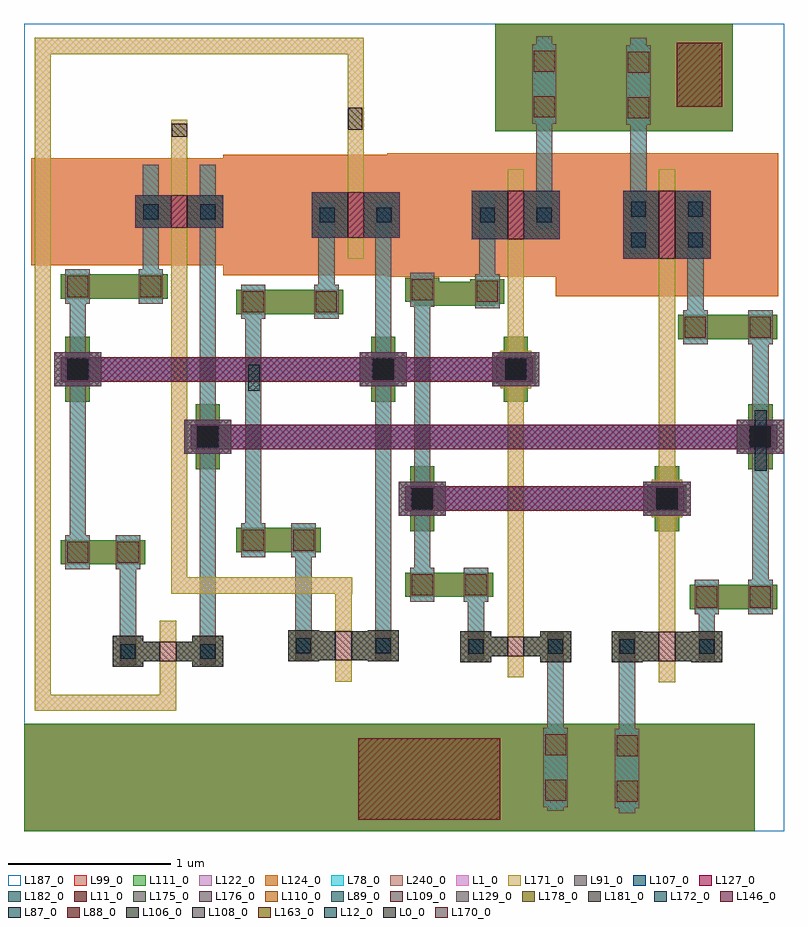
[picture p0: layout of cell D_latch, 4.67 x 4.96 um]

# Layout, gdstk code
import gdstk
lib = gdstk.Library(unit=1e-6, precision=1e-09)
def R(c, l, rs):  # rectangles x0, y0, x1, y1
    for r in rs: c.add(gdstk.rectangle(r[:2], r[2:], *l))
def P(c, l, *ps):  # polygons
    for p in ps: c.add(gdstk.Polygon(p, *l))
L0_0 = (0, 0)
L1_0 = (1, 0)
L11_0 = (11, 0)
L12_0 = (12, 0)
L78_0 = (78, 0)
L87_0 = (87, 0)
L88_0 = (88, 0)
L89_0 = (89, 0)
L91_0 = (91, 0)
L99_0 = (99, 0)
L106_0 = (106, 0)
L107_0 = (107, 0)
L108_0 = (108, 0)
L109_0 = (109, 0)
L110_0 = (110, 0)
L111_0 = (111, 0)
L122_0 = (122, 0)
L124_0 = (124, 0)
L127_0 = (127, 0)
L129_0 = (129, 0)
L146_0 = (146, 0)
L163_0 = (163, 0)
L170_0 = (170, 0)
L171_0 = (171, 0)
L172_0 = (172, 0)
L175_0 = (175, 0)
L176_0 = (176, 0)
L178_0 = (178, 0)
L181_0 = (181, 0)
L182_0 = (182, 0)
L187_0 = (187, 0)
L240_0 = (240, 0)

d_latch = lib.new_cell('D_latch')
R(d_latch, L0_0, [(8.035,6.5,8.13,6.58), (9.12,6.545,9.205,6.68)])
P(d_latch, L1_0, [(9.215,7.11),(9.215,5.75),(9.115,5.75),(9.115,7.01),(7.29,7.01),(7.29,3.07),(7.96,3.07),(7.96,3.525),(8.06,3.525),(8.06,2.97),(7.19,2.97),(7.19,7.11)],
  [(8.13,6.605),(8.13,3.79),(9.145,3.79),(9.145,3.69),(9.14,3.69),(9.14,3.15),(9.04,3.15),(9.04,3.69),(8.03,3.69),(8.03,6.605)],
  [(10.2,6.3),(10.2,5.185),(10.245,5.185),(10.245,4.955),(10.2,4.955),(10.2,3.175),(10.1,3.175),(10.1,4.955),(10.055,4.955),(10.055,5.185),(10.1,5.185),(10.1,6.3)],
  [(11.13,6.3),(11.13,4.39),(11.175,4.39),(11.175,4.16),(11.13,4.16),(11.13,3.145),(11.03,3.145),(11.03,4.16),(10.985,4.16),(10.985,4.39),(11.03,4.39),(11.03,6.3)])
R(d_latch, L11_0, [(9.18,2.3,10.055,2.8), (11.14,6.685,11.42,7.08)])
R(d_latch, L12_0, [(11.62,4.445,11.695,4.82), (8.505,4.94,8.575,5.1)])
P(d_latch, L78_0, [(9.39,6.105),(9.39,5.935),(9.385,5.935),(9.385,5.175),(9.41,5.175),(9.41,4.965),(9.385,4.965),(9.385,3.285),(9.285,3.285),(9.285,4.965),(9.26,4.965),(9.26,5.175),(9.285,5.175),(9.285,6.02),(9.29,6.02),(9.29,6.105)],
  [(9.04,6.105),(9.04,5.935),(9.035,5.935),(9.035,5.59),(9.06,5.59),(9.06,5.38),(8.91,5.38),(8.91,5.59),(8.935,5.59),(8.935,6.055),(8.94,6.055),(8.94,6.105)],
  [(8.61,5.59),(8.61,5.38),(8.585,5.38),(8.585,4.125),(8.61,4.125),(8.61,3.915),(8.46,3.915),(8.46,4.125),(8.485,4.125),(8.485,5.38),(8.46,5.38),(8.46,5.59)],
  [(8.92,4.125),(8.92,3.915),(8.895,3.915),(8.895,3.285),(8.795,3.285),(8.795,3.915),(8.77,3.915),(8.77,4.125)],
  [(8.305,6.33),(8.305,4.76),(8.33,4.76),(8.33,4.55),(8.305,4.55),(8.305,3.25),(8.205,3.25),(8.205,4.55),(8.18,4.55),(8.18,4.76),(8.205,4.76),(8.205,6.33)],
  [(7.955,6.33),(7.955,5.685),(7.98,5.685),(7.98,5.475),(7.83,5.475),(7.83,5.685),(7.855,5.685),(7.855,6.33)],
  [(7.53,5.685),(7.53,5.475),(7.505,5.475),(7.505,5.175),(7.53,5.175),(7.53,4.965),(7.505,4.965),(7.505,4.05),(7.53,4.05),(7.53,3.84),(7.38,3.84),(7.38,4.05),(7.405,4.05),(7.405,4.965),(7.38,4.965),(7.38,5.175),(7.405,5.175),(7.405,5.475),(7.38,5.475),(7.38,5.685)],
  [(7.84,4.05),(7.84,3.84),(7.815,3.84),(7.815,3.25),(7.715,3.25),(7.715,3.84),(7.69,3.84),(7.69,4.05)],
  [(10.025,6.16),(10.025,5.655),(10.05,5.655),(10.05,5.445),(9.9,5.445),(9.9,5.655),(9.925,5.655),(9.925,6.16)],
  [(9.98,3.85),(9.98,3.64),(9.955,3.64),(9.955,3.28),(9.855,3.28),(9.855,3.64),(9.83,3.64),(9.83,3.85)],
  [(9.65,5.665),(9.65,5.455),(9.625,5.455),(9.625,4.38),(9.65,4.38),(9.65,4.17),(9.625,4.17),(9.625,3.85),(9.65,3.85),(9.65,3.64),(9.5,3.64),(9.5,3.85),(9.525,3.85),(9.525,4.17),(9.5,4.17),(9.5,4.38),(9.525,4.38),(9.525,5.455),(9.5,5.455),(9.5,5.665)],
  [(10.445,3.45),(10.445,2.865),(10.47,2.865),(10.47,2.375),(10.445,2.375),(10.445,2.355),(10.345,2.355),(10.345,2.375),(10.32,2.375),(10.32,2.865),(10.345,2.865),(10.345,3.45)],
  [(10.375,7.12),(10.375,7.07),(10.4,7.07),(10.4,6.58),(10.375,6.58),(10.375,5.935),(10.275,5.935),(10.275,6.58),(10.25,6.58),(10.25,7.07),(10.275,7.07),(10.275,7.12)],
  [(11.305,6.14),(11.305,5.435),(11.33,5.435),(11.33,5.225),(11.18,5.225),(11.18,5.435),(11.205,5.435),(11.205,6.14)],
  [(11.4,3.775),(11.4,3.565),(11.375,3.565),(11.375,3.28),(11.275,3.28),(11.275,3.565),(11.25,3.565),(11.25,3.775)],
  [(11.73,5.435),(11.73,5.225),(11.705,5.225),(11.705,4.76),(11.73,4.76),(11.73,4.55),(11.705,4.55),(11.705,3.775),(11.73,3.775),(11.73,3.565),(11.58,3.565),(11.58,3.775),(11.605,3.775),(11.605,4.55),(11.58,4.55),(11.58,4.76),(11.605,4.76),(11.605,5.225),(11.58,5.225),(11.58,5.435)],
  [(10.885,3.45),(10.885,2.86),(10.91,2.86),(10.91,2.37),(10.885,2.37),(10.885,2.34),(10.785,2.34),(10.785,2.37),(10.76,2.37),(10.76,2.86),(10.785,2.86),(10.785,3.45)],
  [(10.955,7.11),(10.955,7.065),(10.98,7.065),(10.98,6.575),(10.955,6.575),(10.955,5.78),(10.855,5.78),(10.855,6.575),(10.83,6.575),(10.83,7.065),(10.855,7.065),(10.855,7.11)],
  [(11.175,4.38),(11.175,4.36),(11.2,4.36),(11.2,4.19),(11.175,4.19),(11.175,4.17),(10.985,4.17),(10.985,4.19),(10.96,4.19),(10.96,4.36),(10.985,4.36),(10.985,4.38)],
  [(10.245,5.175),(10.245,5.155),(10.27,5.155),(10.27,4.985),(10.245,4.985),(10.245,4.965),(10.055,4.965),(10.055,4.985),(10.03,4.985),(10.03,5.155),(10.055,5.155),(10.055,5.175)])
R(d_latch, L87_0, [(9.51,4.21,9.64,4.34), (11.015,4.21,11.145,4.34), (8.19,4.59,8.32,4.72), (11.59,4.59,11.72,4.72), (7.39,5.005,7.52,5.135), (9.27,5.005,9.4,5.135), (10.085,5.005,10.215,5.135)])
R(d_latch, L88_0, [(9.51,4.21,9.64,4.34), (11.015,4.21,11.145,4.34), (8.19,4.59,8.32,4.72), (11.59,4.59,11.72,4.72), (7.39,5.005,7.52,5.135), (9.27,5.005,9.4,5.135), (10.085,5.005,10.215,5.135)])
R(d_latch, L89_0, [(9.43,4.17,9.72,4.38), (10.935,4.17,11.225,4.38), (8.11,4.55,8.4,4.76), (11.51,4.55,11.8,4.76), (7.31,4.965,7.6,5.175), (9.19,4.965,9.48,5.175), (10.005,4.965,10.295,5.175)])
R(d_latch, L91_0, [(9.47,4.2,11.185,4.35), (8.15,4.58,11.76,4.73), (7.35,4.995,10.255,5.145)])
R(d_latch, L99_0, [(7.125,2.23,11.62,2.89), (11.22,3.595,11.76,3.745), (9.47,3.67,10.01,3.82), (7.35,3.87,7.87,4.02), (8.43,3.945,8.95,4.095), (9.5,4.075,9.65,4.475), (11.005,4.075,11.155,4.475), (8.18,4.455,8.33,4.855), (11.58,4.455,11.73,4.855), (7.38,4.87,7.53,5.27), (9.26,4.87,9.41,5.27), (10.075,4.87,10.225,5.27), (11.15,5.255,11.76,5.405), (8.43,5.41,9.09,5.56), (7.35,5.505,8.01,5.655), (10.025,6.535,11.485,7.195)])
P(d_latch, L99_0, [(9.68,5.635),(9.68,5.61),(9.87,5.61),(9.87,5.625),(10.08,5.625),(10.08,5.475),(10.025,5.475),(10.025,5.46),(9.525,5.46),(9.525,5.485),(9.47,5.485),(9.47,5.635)])
R(d_latch, L106_0, [(9.51,4.21,9.64,4.34), (11.015,4.21,11.145,4.34), (8.19,4.59,8.32,4.72), (11.59,4.59,11.72,4.72), (7.39,5.005,7.52,5.135), (9.27,5.005,9.4,5.135), (10.085,5.005,10.215,5.135)])
R(d_latch, L107_0, [(9.47,4.2,11.185,4.35), (8.15,4.58,11.76,4.73), (7.35,4.995,10.255,5.145)])
R(d_latch, L108_0, [(9.51,4.21,9.64,4.34), (11.015,4.21,11.145,4.34), (8.19,4.59,8.32,4.72), (11.59,4.59,11.72,4.72), (7.39,5.005,7.52,5.135), (9.27,5.005,9.4,5.135), (10.085,5.005,10.215,5.135)])
R(d_latch, L109_0, [(9.43,4.17,9.72,4.38), (10.935,4.17,11.225,4.38), (8.11,4.55,8.4,4.76), (11.51,4.55,11.8,4.76), (7.31,4.965,7.6,5.175), (9.19,4.965,9.48,5.175), (10.005,4.965,10.295,5.175)])
R(d_latch, L110_0, [(10.77,2.41,10.9,2.54), (10.33,2.415,10.46,2.545), (10.77,2.69,10.9,2.82), (10.33,2.695,10.46,2.825), (11.26,3.605,11.39,3.735), (11.59,3.605,11.72,3.735), (9.51,3.68,9.64,3.81), (9.84,3.68,9.97,3.81), (7.39,3.88,7.52,4.01), (7.7,3.88,7.83,4.01), (8.47,3.955,8.6,4.085), (8.78,3.955,8.91,4.085), (9.51,4.21,9.64,4.34), (11.015,4.21,11.145,4.34), (8.19,4.59,8.32,4.72), (11.59,4.59,11.72,4.72), (7.39,5.005,7.52,5.135), (9.27,5.005,9.4,5.135), (10.085,5.005,10.215,5.135), (11.19,5.265,11.32,5.395), (11.59,5.265,11.72,5.395), (8.47,5.42,8.6,5.55), (8.92,5.42,9.05,5.55), (9.91,5.485,10.04,5.615), (9.51,5.495,9.64,5.625), (7.39,5.515,7.52,5.645), (7.84,5.515,7.97,5.645), (10.84,6.615,10.97,6.745), (10.26,6.62,10.39,6.75), (10.84,6.895,10.97,7.025), (10.26,6.9,10.39,7.03)])
R(d_latch, L111_0, [(7.125,2.23,11.62,2.89), (11.22,3.595,11.76,3.745), (9.47,3.67,10.01,3.82), (7.35,3.87,7.87,4.02), (8.43,3.945,8.95,4.095), (9.5,4.075,9.65,4.475), (11.005,4.075,11.155,4.475), (8.18,4.455,8.33,4.855), (11.58,4.455,11.73,4.855), (7.38,4.87,7.53,5.27), (9.26,4.87,9.41,5.27), (10.075,4.87,10.225,5.27), (11.15,5.255,11.76,5.405), (8.43,5.41,9.09,5.56), (7.35,5.505,8.01,5.655), (10.025,6.535,11.485,7.195)])
P(d_latch, L111_0, [(9.68,5.635),(9.68,5.61),(9.87,5.61),(9.87,5.625),(10.08,5.625),(10.08,5.475),(10.025,5.475),(10.025,5.46),(9.525,5.46),(9.525,5.485),(9.47,5.485),(9.47,5.635)])
P(d_latch, L122_0, [(11.765,6.4),(11.765,5.52),(10.395,5.52),(10.395,5.64),(9.36,5.64),(9.36,5.65),(8.35,5.65),(8.35,5.71),(7.17,5.71),(7.17,6.37),(8.35,6.37),(8.35,6.39),(9.36,6.39),(9.36,6.4)])
P(d_latch, L124_0, [(11.765,6.4),(11.765,5.52),(10.395,5.52),(10.395,5.64),(9.36,5.64),(9.36,5.65),(8.35,5.65),(8.35,5.71),(7.17,5.71),(7.17,6.37),(8.35,6.37),(8.35,6.39),(9.36,6.39),(9.36,6.4)])
R(d_latch, L127_0, [(9.47,4.2,11.185,4.35), (8.15,4.58,11.76,4.73), (7.35,4.995,10.255,5.145)])
R(d_latch, L129_0, [(9.43,4.17,9.72,4.38), (10.935,4.17,11.225,4.38), (8.11,4.55,8.4,4.76), (11.51,4.55,11.8,4.76), (7.31,4.965,7.6,5.175), (9.19,4.965,9.48,5.175), (10.005,4.965,10.295,5.175)])
R(d_latch, L146_0, [(11.03,5.75,11.13,6.17), (10.1,5.87,10.2,6.17), (9.115,5.88,9.215,6.16), (8.03,5.94,8.13,6.14)])
R(d_latch, L163_0, [(7.96,3.275,8.06,3.395), (11.03,3.275,11.13,3.455), (9.04,3.28,9.14,3.46), (10.1,3.305,10.2,3.425)])
R(d_latch, L170_0, [(11.035,4.23,11.125,4.32), (10.105,5.025,10.195,5.115)])
R(d_latch, L171_0, [(11.03,3.145,11.13,3.275), (9.04,3.15,9.14,3.28), (10.1,3.175,10.2,3.305), (7.96,3.395,8.06,3.525), (9.115,5.75,9.215,5.88), (8.03,6.14,8.13,6.605), (10.1,6.17,10.2,6.3), (11.03,6.17,11.13,6.3)])
P(d_latch, L171_0, [(11.13,5.75),(11.13,4.39),(11.175,4.39),(11.175,4.16),(11.13,4.16),(11.13,3.455),(11.03,3.455),(11.03,4.16),(10.985,4.16),(10.985,4.39),(11.03,4.39),(11.03,5.75)],
  [(10.2,5.87),(10.2,5.185),(10.245,5.185),(10.245,4.955),(10.2,4.955),(10.2,3.425),(10.1,3.425),(10.1,4.955),(10.055,4.955),(10.055,5.185),(10.1,5.185),(10.1,5.87)],
  [(8.13,5.94),(8.13,3.79),(9.145,3.79),(9.145,3.69),(9.14,3.69),(9.14,3.46),(9.04,3.46),(9.04,3.69),(8.03,3.69),(8.03,5.94)],
  [(9.215,7.11),(9.215,6.16),(9.115,6.16),(9.115,7.01),(7.29,7.01),(7.29,3.07),(7.96,3.07),(7.96,3.275),(8.06,3.275),(8.06,2.97),(7.19,2.97),(7.19,7.11)])
R(d_latch, L172_0, [(7.72,3.29,7.81,3.38), (8.21,3.29,8.3,3.38), (9.86,3.32,9.95,3.41), (10.35,3.32,10.44,3.41), (10.79,3.32,10.88,3.41), (11.28,3.32,11.37,3.41), (8.8,3.325,8.89,3.415), (9.29,3.325,9.38,3.415), (10.86,5.82,10.95,5.91), (11.21,5.82,11.3,5.91), (8.945,5.975,9.035,6.065), (9.295,5.975,9.385,6.065), (9.93,5.975,10.02,6.065), (10.28,5.975,10.37,6.065), (7.86,5.995,7.95,6.085), (8.21,5.995,8.3,6.085), (10.86,6.01,10.95,6.1), (11.21,6.01,11.3,6.1)])
R(d_latch, L175_0, [(10.81,5.75,11.03,6.17), (11.13,5.75,11.35,6.17), (9.88,5.87,10.1,6.17), (10.2,5.87,10.42,6.17), (8.895,5.88,9.115,6.16), (9.215,5.88,9.435,6.16), (7.81,5.94,8.03,6.14), (8.13,5.94,8.35,6.14)])
R(d_latch, L176_0, [(10.81,5.75,11.03,6.17), (11.13,5.75,11.35,6.17), (9.88,5.87,10.1,6.17), (10.2,5.87,10.42,6.17), (8.895,5.88,9.115,6.16), (9.215,5.88,9.435,6.16), (7.81,5.94,8.03,6.14), (8.13,5.94,8.35,6.14)])
P(d_latch, L178_0, [(10.49,3.46),(10.49,3.27),(10.3,3.27),(10.3,3.305),(10.2,3.305),(10.2,3.425),(10.3,3.425),(10.3,3.46)],
  [(10,3.46),(10,3.425),(10.1,3.425),(10.1,3.305),(10,3.305),(10,3.27),(9.81,3.27),(9.81,3.46)],
  [(11.42,3.46),(11.42,3.27),(11.23,3.27),(11.23,3.275),(11.13,3.275),(11.13,3.455),(11.23,3.455),(11.23,3.46)],
  [(10.93,3.46),(10.93,3.455),(11.03,3.455),(11.03,3.275),(10.93,3.275),(10.93,3.27),(10.74,3.27),(10.74,3.46)],
  [(9.43,3.465),(9.43,3.275),(9.24,3.275),(9.24,3.28),(9.14,3.28),(9.14,3.46),(9.24,3.46),(9.24,3.465)],
  [(8.94,3.465),(8.94,3.46),(9.04,3.46),(9.04,3.28),(8.94,3.28),(8.94,3.275),(8.75,3.275),(8.75,3.465)],
  [(8.35,3.43),(8.35,3.24),(8.16,3.24),(8.16,3.275),(8.06,3.275),(8.06,3.395),(8.16,3.395),(8.16,3.43)],
  [(7.86,3.43),(7.86,3.395),(7.96,3.395),(7.96,3.275),(7.86,3.275),(7.86,3.24),(7.67,3.24),(7.67,3.43)])
P(d_latch, L181_0, [(8.35,3.43),(8.35,3.24),(8.16,3.24),(8.16,3.275),(8.06,3.275),(8.06,3.395),(8.16,3.395),(8.16,3.43)],
  [(7.86,3.43),(7.86,3.395),(7.96,3.395),(7.96,3.275),(7.86,3.275),(7.86,3.24),(7.67,3.24),(7.67,3.43)],
  [(9.43,3.465),(9.43,3.275),(9.24,3.275),(9.24,3.28),(9.14,3.28),(9.14,3.46),(9.24,3.46),(9.24,3.465)],
  [(8.94,3.465),(8.94,3.46),(9.04,3.46),(9.04,3.28),(8.94,3.28),(8.94,3.275),(8.75,3.275),(8.75,3.465)],
  [(10.49,3.46),(10.49,3.27),(10.3,3.27),(10.3,3.305),(10.2,3.305),(10.2,3.425),(10.3,3.425),(10.3,3.46)],
  [(10,3.46),(10,3.425),(10.1,3.425),(10.1,3.305),(10,3.305),(10,3.27),(9.81,3.27),(9.81,3.46)],
  [(11.42,3.46),(11.42,3.27),(11.23,3.27),(11.23,3.275),(11.13,3.275),(11.13,3.455),(11.23,3.455),(11.23,3.46)],
  [(10.93,3.46),(10.93,3.455),(11.03,3.455),(11.03,3.275),(10.93,3.275),(10.93,3.27),(10.74,3.27),(10.74,3.46)])
R(d_latch, L182_0, [(10.81,5.75,11.03,6.17), (11.13,5.75,11.35,6.17), (9.88,5.87,10.1,6.17), (10.2,5.87,10.42,6.17), (8.895,5.88,9.115,6.16), (9.215,5.88,9.435,6.16), (7.81,5.94,8.03,6.14), (8.13,5.94,8.35,6.14)])
P(d_latch, L182_0, [(8.35,3.43),(8.35,3.24),(8.16,3.24),(8.16,3.275),(8.06,3.275),(8.06,3.395),(8.16,3.395),(8.16,3.43)],
  [(7.86,3.43),(7.86,3.395),(7.96,3.395),(7.96,3.275),(7.86,3.275),(7.86,3.24),(7.67,3.24),(7.67,3.43)],
  [(10.49,3.46),(10.49,3.27),(10.3,3.27),(10.3,3.305),(10.2,3.305),(10.2,3.425),(10.3,3.425),(10.3,3.46)],
  [(10,3.46),(10,3.425),(10.1,3.425),(10.1,3.305),(10,3.305),(10,3.27),(9.81,3.27),(9.81,3.46)],
  [(9.43,3.465),(9.43,3.275),(9.24,3.275),(9.24,3.28),(9.14,3.28),(9.14,3.46),(9.24,3.46),(9.24,3.465)],
  [(8.94,3.465),(8.94,3.46),(9.04,3.46),(9.04,3.28),(8.94,3.28),(8.94,3.275),(8.75,3.275),(8.75,3.465)],
  [(11.42,3.46),(11.42,3.27),(11.23,3.27),(11.23,3.275),(11.13,3.275),(11.13,3.455),(11.23,3.455),(11.23,3.46)],
  [(10.93,3.46),(10.93,3.455),(11.03,3.455),(11.03,3.275),(10.93,3.275),(10.93,3.27),(10.74,3.27),(10.74,3.46)])
R(d_latch, L187_0, [(7.125,2.23,11.8,7.195)])
P(d_latch, L240_0, [(9.39,6.105),(9.39,5.935),(9.385,5.935),(9.385,5.175),(9.41,5.175),(9.41,4.965),(9.385,4.965),(9.385,3.285),(9.285,3.285),(9.285,4.965),(9.26,4.965),(9.26,5.175),(9.285,5.175),(9.285,6.02),(9.29,6.02),(9.29,6.105)],
  [(9.04,6.105),(9.04,5.935),(9.035,5.935),(9.035,5.59),(9.06,5.59),(9.06,5.38),(8.91,5.38),(8.91,5.59),(8.935,5.59),(8.935,6.055),(8.94,6.055),(8.94,6.105)],
  [(8.61,5.59),(8.61,5.38),(8.585,5.38),(8.585,4.125),(8.61,4.125),(8.61,3.915),(8.46,3.915),(8.46,4.125),(8.485,4.125),(8.485,5.38),(8.46,5.38),(8.46,5.59)],
  [(8.92,4.125),(8.92,3.915),(8.895,3.915),(8.895,3.285),(8.795,3.285),(8.795,3.915),(8.77,3.915),(8.77,4.125)],
  [(8.305,6.33),(8.305,4.76),(8.33,4.76),(8.33,4.55),(8.305,4.55),(8.305,3.25),(8.205,3.25),(8.205,4.55),(8.18,4.55),(8.18,4.76),(8.205,4.76),(8.205,6.33)],
  [(7.955,6.33),(7.955,5.685),(7.98,5.685),(7.98,5.475),(7.83,5.475),(7.83,5.685),(7.855,5.685),(7.855,6.33)],
  [(7.53,5.685),(7.53,5.475),(7.505,5.475),(7.505,5.175),(7.53,5.175),(7.53,4.965),(7.505,4.965),(7.505,4.05),(7.53,4.05),(7.53,3.84),(7.38,3.84),(7.38,4.05),(7.405,4.05),(7.405,4.965),(7.38,4.965),(7.38,5.175),(7.405,5.175),(7.405,5.475),(7.38,5.475),(7.38,5.685)],
  [(7.84,4.05),(7.84,3.84),(7.815,3.84),(7.815,3.25),(7.715,3.25),(7.715,3.84),(7.69,3.84),(7.69,4.05)],
  [(10.025,6.16),(10.025,5.655),(10.05,5.655),(10.05,5.445),(9.9,5.445),(9.9,5.655),(9.925,5.655),(9.925,6.16)],
  [(9.98,3.85),(9.98,3.64),(9.955,3.64),(9.955,3.28),(9.855,3.28),(9.855,3.64),(9.83,3.64),(9.83,3.85)],
  [(9.65,5.665),(9.65,5.455),(9.625,5.455),(9.625,4.38),(9.65,4.38),(9.65,4.17),(9.625,4.17),(9.625,3.85),(9.65,3.85),(9.65,3.64),(9.5,3.64),(9.5,3.85),(9.525,3.85),(9.525,4.17),(9.5,4.17),(9.5,4.38),(9.525,4.38),(9.525,5.455),(9.5,5.455),(9.5,5.665)],
  [(10.445,3.45),(10.445,2.865),(10.47,2.865),(10.47,2.375),(10.445,2.375),(10.445,2.355),(10.345,2.355),(10.345,2.375),(10.32,2.375),(10.32,2.865),(10.345,2.865),(10.345,3.45)],
  [(10.375,7.12),(10.375,7.07),(10.4,7.07),(10.4,6.58),(10.375,6.58),(10.375,5.935),(10.275,5.935),(10.275,6.58),(10.25,6.58),(10.25,7.07),(10.275,7.07),(10.275,7.12)],
  [(11.305,6.14),(11.305,5.435),(11.33,5.435),(11.33,5.225),(11.18,5.225),(11.18,5.435),(11.205,5.435),(11.205,6.14)],
  [(11.4,3.775),(11.4,3.565),(11.375,3.565),(11.375,3.28),(11.275,3.28),(11.275,3.565),(11.25,3.565),(11.25,3.775)],
  [(11.73,5.435),(11.73,5.225),(11.705,5.225),(11.705,4.76),(11.73,4.76),(11.73,4.55),(11.705,4.55),(11.705,3.775),(11.73,3.775),(11.73,3.565),(11.58,3.565),(11.58,3.775),(11.605,3.775),(11.605,4.55),(11.58,4.55),(11.58,4.76),(11.605,4.76),(11.605,5.225),(11.58,5.225),(11.58,5.435)],
  [(10.885,3.45),(10.885,2.86),(10.91,2.86),(10.91,2.37),(10.885,2.37),(10.885,2.34),(10.785,2.34),(10.785,2.37),(10.76,2.37),(10.76,2.86),(10.785,2.86),(10.785,3.45)],
  [(10.955,7.11),(10.955,7.065),(10.98,7.065),(10.98,6.575),(10.955,6.575),(10.955,5.78),(10.855,5.78),(10.855,6.575),(10.83,6.575),(10.83,7.065),(10.855,7.065),(10.855,7.11)],
  [(11.175,4.38),(11.175,4.36),(11.2,4.36),(11.2,4.19),(11.175,4.19),(11.175,4.17),(10.985,4.17),(10.985,4.19),(10.96,4.19),(10.96,4.36),(10.985,4.36),(10.985,4.38)],
  [(10.245,5.175),(10.245,5.155),(10.27,5.155),(10.27,4.985),(10.245,4.985),(10.245,4.965),(10.055,4.965),(10.055,4.985),(10.03,4.985),(10.03,5.155),(10.055,5.155),(10.055,5.175)])

lib.write_gds('D_latch.gds')
